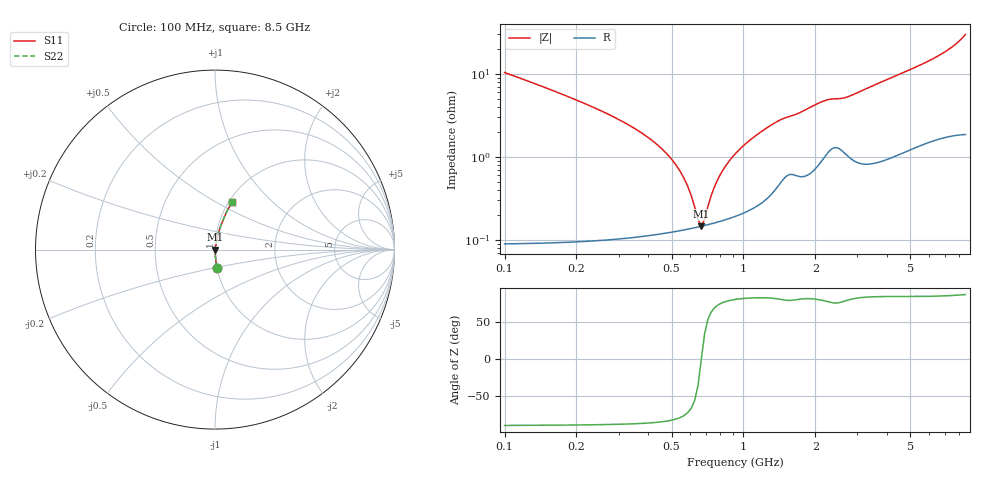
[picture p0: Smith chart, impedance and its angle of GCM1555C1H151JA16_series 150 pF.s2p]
!Murata Part Number: GCM1555C1H151JA16
!These Parameters are Measured in Series Mode Connection
!  o--ll--o
!Port1  Port2
!  o------o
!Operation Temp=25[degC], DC Bias Voltage=0[V]
!Freq. Start=100[MHz] Stop=8.5[GHz], 401[Steps]
!Data Generated on Jan 10, 2017
# Hz S RI R 50
!Freq.(Hz) S11(Real) S11(Imag) S21(Real) S21(Imag) S12(Real) S12(Imag) S22(Real) S22(Imag)
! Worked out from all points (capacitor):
!   401 points, 100 MHz to 8.5 GHz, reference 50 ohm
!   read as one part in series: C = 150 pF near 142 MHz
!   lowest |Z| = 145 mohm at 667 MHz (marker M1)
!   series resonance near 666.7 MHz, so ESL is about 380 pH
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1e8  0.0115 -0.1024  0.9885 0.1024  0.9885 0.1024  0.0115 -0.1024
2.26e8  0.00267 -0.0414  0.9973 0.0414  0.9973 0.0414  0.00267 -0.0414
4.78e8  0.00132 -0.0107  0.9987 0.0107  0.9987 0.0107  0.00132 -0.0107
5.62e8  0.00134 -0.00545  0.9987 0.00545  0.9987 0.00545  0.00134 -0.00545
6.25e8  0.0014 -0.00205  0.9986 0.00205  0.9986 0.00205  0.0014 -0.00205
6.46e8  0.00142 -0.001  0.9986 0.001  0.9986 0.001  0.00142 -0.001
6.67e8  0.00145 1.45e-05  0.9985 -1.45e-05  0.9985 -1.45e-05  0.00145 1.45e-05
6.88e8  0.00148 0.001  0.9985 -0.001  0.9985 -0.001  0.00148 0.001
7.09e8  0.00152 0.00196  0.9985 -0.00196  0.9985 -0.00196  0.00152 0.00196
7.72e8  0.00164 0.00469  0.9984 -0.00469  0.9984 -0.00469  0.00164 0.00469
8.14e8  0.00173 0.00641  0.9983 -0.00641  0.9983 -0.00641  0.00173 0.00641
8.77e8  0.00189 0.00887  0.9981 -0.00887  0.9981 -0.00887  0.00189 0.00887
9.4e8  0.00207 0.0112  0.9979 -0.0112  0.9979 -0.0112  0.00207 0.0112
1.045e9  0.00243 0.015  0.9976 -0.015  0.9976 -0.015  0.00243 0.015
1.192e9  0.00316 0.0199  0.9968 -0.0199  0.9968 -0.0199  0.00316 0.0199
1.507e9  0.00657 0.0288  0.9934 -0.0288  0.9934 -0.0288  0.00657 0.0288
2.179e9  0.0118 0.0452  0.9882 -0.0452  0.9882 -0.0452  0.0118 0.0452
2.914e9  0.0119 0.0551  0.9881 -0.0551  0.9881 -0.0551  0.0119 0.0551
4.3e9  0.0183 0.0903  0.9817 -0.0903  0.9817 -0.0903  0.0183 0.0903
5.707e9  0.0308 0.1276  0.9692 -0.1276  0.9692 -0.1276  0.0308 0.1276
7.114e9  0.0501 0.1773  0.9499 -0.1773  0.9499 -0.1773  0.0501 0.1773
8.5e9  0.0954 0.2643  0.9046 -0.2643  0.9046 -0.2643  0.0954 0.2643
